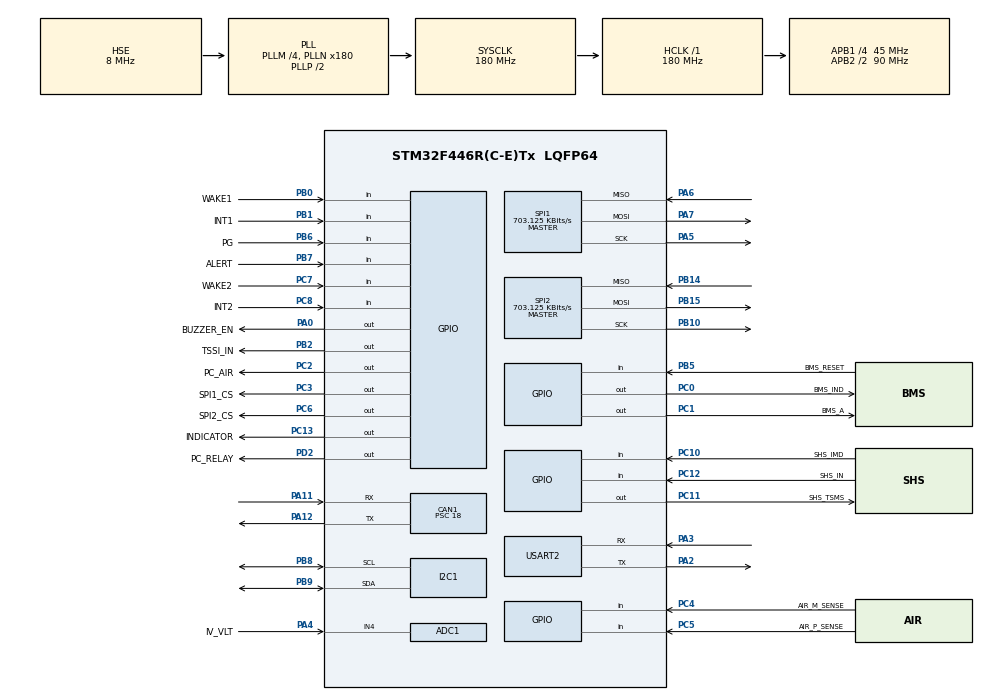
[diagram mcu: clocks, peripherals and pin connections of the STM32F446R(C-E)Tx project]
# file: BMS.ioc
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ADC1.Channel-0\#ChannelRegularConversion=ADC_CHANNEL_4
ADC1.NbrOfConversionFlag=1
ADC1.Rank-0\#ChannelRegularConversion=1
ADC1.SamplingTime-0\#ChannelRegularConversion=ADC_SAMPLETIME_3CYCLES
ADC1.master=1
CAN1.BS1=CAN_BS1_3TQ
CAN1.CalculateBaudRate=500000
CAN1.CalculateTimeBit=2000
CAN1.CalculateTimeQuantum=400.0
CAN1.Prescaler=18
Dma.Request0=USART2_RX
Dma.Request1=USART2_TX
Dma.USART2_RX.0.Direction=DMA_PERIPH_TO_MEMORY
Dma.USART2_RX.0.FIFOMode=DMA_FIFOMODE_DISABLE
Dma.USART2_RX.0.Instance=DMA1_Stream5
Dma.USART2_RX.0.MemDataAlignment=DMA_MDATAALIGN_BYTE
Dma.USART2_RX.0.MemInc=DMA_MINC_ENABLE
Dma.USART2_RX.0.Mode=DMA_CIRCULAR
Dma.USART2_RX.0.PeriphDataAlignment=DMA_PDATAALIGN_BYTE
Dma.USART2_RX.0.PeriphInc=DMA_PINC_DISABLE
Dma.USART2_RX.0.Priority=DMA_PRIORITY_LOW
Dma.USART2_TX.1.Direction=DMA_MEMORY_TO_PERIPH
Dma.USART2_TX.1.FIFOMode=DMA_FIFOMODE_DISABLE
Dma.USART2_TX.1.Instance=DMA1_Stream6
Dma.USART2_TX.1.MemDataAlignment=DMA_MDATAALIGN_BYTE
Dma.USART2_TX.1.MemInc=DMA_MINC_ENABLE
Dma.USART2_TX.1.Mode=DMA_NORMAL
Dma.USART2_TX.1.PeriphDataAlignment=DMA_PDATAALIGN_BYTE
Dma.USART2_TX.1.PeriphInc=DMA_PINC_DISABLE
Dma.USART2_TX.1.Priority=DMA_PRIORITY_LOW
FREERTOS.CountingSemaphores01=canTxMailboxSem,3,Dynamic,NULL,3;uartTxSem,1,Dynamic,NULL,0
FREERTOS.Mutexes01=ADBMSMutex,Dynamic,NULL,Available;canTxMutex,Dynamic,NULL,Available;canRxMutex,Dynamic,NULL,Available;tpsDataMutex,Dynamic,NULL,Available;tpsI2cMutex,Dynamic,NULL,Available;logMutex,Dynamic,NULL,Available;uartTxMutex,Dynamic,NULL,Available
FREERTOS.Queues01=canTxQueue,16,FEB_CAN_Message_t,0,Dynamic,NULL,NULL;canRxQueue,32,FEB_CAN_Message_t,0,Dynamic,NULL,NULL;uartRxQueue,8,FEB_UART_RxQueueMsg_t,0,Dynamic,NULL,NULL
FREERTOS.Tasks01=uartRxTask,24,1024,StartUartRxTask,As weak,NULL,Dynamic,NULL,NULL;ADBMSTask,48,2048,StartADBMSTask,As weak,NULL,Dynamic,NULL,NULL;TPSTask,8,512,StartTPSTask,As weak,NULL,Dynamic,NULL,NULL;BMSTaskRx,8,1024,StartBMSTaskRx,As weak,NULL,Dynamic,NULL,NULL;BMSTaskTx,8,1024,StartBMSTaskTx,As weak,NULL,Dynamic,NULL,NULL;SMTask,24,1024,StartSMTask,As weak,NULL,Dynamic,NULL,NULL;BMSProcessingTask,32,1024,StartBMSProcessingTask,As weak,NULL,Dynamic,NULL,NULL
FREERTOS.configCHECK_FOR_STACK_OVERFLOW=2
FREERTOS.configENABLE_FPU=1
FREERTOS.configTOTAL_HEAP_SIZE=65536
Mcu.Family=STM32F4
Mcu.Name=STM32F446R(C-E)Tx
Mcu.Package=LQFP64
NVIC.CAN1_RX0_IRQn=true\:5\:0\:false\:false\:true\:true\:true\:true\:true
NVIC.CAN1_RX1_IRQn=true\:5\:0\:false\:false\:true\:true\:true\:true\:true
NVIC.CAN1_SCE_IRQn=true\:5\:0\:false\:false\:true\:true\:true\:true\:true
NVIC.CAN1_TX_IRQn=true\:5\:0\:false\:false\:true\:true\:true\:true\:true
NVIC.DMA1_Stream5_IRQn=true\:5\:0\:false\:false\:true\:true\:false\:true\:true
NVIC.DMA1_Stream6_IRQn=true\:5\:0\:false\:false\:true\:true\:false\:true\:true
NVIC.PriorityGroup=NVIC_PRIORITYGROUP_4
NVIC.TIM6_DAC_IRQn=true\:15\:0\:false\:false\:true\:false\:false\:true\:true
NVIC.TimeBase=TIM6_DAC_IRQn
NVIC.TimeBaseIP=TIM6
NVIC.USART2_IRQn=true\:5\:0\:false\:false\:true\:true\:true\:true\:true
PA0-WKUP.GPIO_Label=BUZZER_EN
PA0-WKUP.Signal=GPIO_Output
PA11.Mode=CAN_Activate
PA11.Signal=CAN1_RX
PA12.Mode=CAN_Activate
PA12.Signal=CAN1_TX
PA13.Mode=Serial_Wire
PA13.Signal=SYS_JTMS-SWDIO
PA14.Mode=Serial_Wire
PA14.Signal=SYS_JTCK-SWCLK
PA2.Mode=Asynchronous
PA2.Signal=USART2_TX
PA3.Mode=Asynchronous
PA3.Signal=USART2_RX
PA4.GPIO_Label=IV_VLT
PA4.Signal=ADCx_IN4
PA5.Mode=Full_Duplex_Master
PA5.Signal=SPI1_SCK
PA6.Mode=Full_Duplex_Master
PA6.Signal=SPI1_MISO
PA7.Mode=Full_Duplex_Master
PA7.Signal=SPI1_MOSI
PB0.GPIO_Label=WAKE1
PB0.Signal=GPIO_Input
PB1.GPIO_Label=INT1
PB1.Signal=GPIO_Input
PB10.Mode=Full_Duplex_Master
PB10.Signal=SPI2_SCK
PB14.Mode=Full_Duplex_Master
PB14.Signal=SPI2_MISO
PB15.Mode=Full_Duplex_Master
PB15.Signal=SPI2_MOSI
PB2.GPIO_Label=TSSI_IN
PB2.Signal=GPIO_Output
PB5.GPIO_Label=BMS_RESET
PB5.GPIO_PuPd=GPIO_PULLUP
PB5.Signal=GPIO_Input
PB6.GPIO_Label=PG
PB6.Signal=GPIO_Input
PB7.GPIO_Label=ALERT
PB7.Signal=GPIO_Input
PB8.Mode=I2C
PB8.Signal=I2C1_SCL
PB9.Mode=I2C
PB9.Signal=I2C1_SDA
PC0.GPIO_Label=BMS_IND
PC0.Signal=GPIO_Output
PC1.GPIO_Label=BMS_A
PC1.Signal=GPIO_Output
PC10.GPIO_Label=SHS_IMD
PC10.Signal=GPIO_Input
PC11.GPIO_Label=SHS_TSMS
PC11.Signal=GPIO_Output
PC12.GPIO_Label=SHS_IN
PC12.Signal=GPIO_Input
PC13.GPIO_Label=INDICATOR
PC13.Signal=GPIO_Output
PC2.GPIO_Label=PC_AIR
PC2.Signal=GPIO_Output
PC3.GPIO_Label=SPI1_CS
PC3.Signal=GPIO_Output
PC4.GPIO_Label=AIR_M_SENSE
PC4.Signal=GPIO_Input
PC5.GPIO_Label=AIR_P_SENSE
PC5.Signal=GPIO_Input
PC6.GPIO_Label=SPI2_CS
PC6.Signal=GPIO_Output
PC7.GPIO_Label=WAKE2
PC7.Signal=GPIO_Input
PC8.GPIO_Label=INT2
PC8.Signal=GPIO_Input
PD2.GPIO_Label=PC_RELAY
PD2.Signal=GPIO_Output
PH0-OSC_IN.Mode=HSE-External-Oscillator
PH0-OSC_IN.Signal=RCC_OSC_IN
PH1-OSC_OUT.Mode=HSE-External-Oscillator
PH1-OSC_OUT.Signal=RCC_OSC_OUT
ProjectManager.HeapSize=0x200
ProjectManager.StackSize=0x400
ProjectManager.TargetToolchain=CMake
RCC.AHBFreq_Value=180000000
RCC.APB1CLKDivider=RCC_HCLK_DIV4
RCC.APB1Freq_Value=45000000
RCC.APB1TimFreq_Value=90000000
RCC.APB2CLKDivider=RCC_HCLK_DIV2
RCC.APB2Freq_Value=90000000
RCC.APB2TimFreq_Value=180000000
RCC.CortexFreq_Value=180000000
RCC.HCLKFreq_Value=180000000
RCC.HSE_VALUE=8000000
RCC.PLLM=4
RCC.PLLN=180
RCC.PLLSourceVirtual=RCC_PLLSOURCE_HSE
RCC.SYSCLKFreq_VALUE=180000000
RCC.SYSCLKSource=RCC_SYSCLKSOURCE_PLLCLK
RCC.USBFreq_Value=180000000
RCC.VCOOutputFreq_Value=360000000
SH.ADCx_IN4.0=ADC1_IN4,IN4
SPI1.BaudRatePrescaler=SPI_BAUDRATEPRESCALER_128
SPI1.CLKPhase=SPI_PHASE_1EDGE
SPI1.CLKPolarity=SPI_POLARITY_LOW
SPI1.CalculateBaudRate=703.125 KBits/s
SPI1.Direction=SPI_DIRECTION_2LINES
SPI1.Mode=SPI_MODE_MASTER
SPI1.VirtualType=VM_MASTER
SPI2.BaudRatePrescaler=SPI_BAUDRATEPRESCALER_64
SPI2.CLKPhase=SPI_PHASE_1EDGE
SPI2.CLKPolarity=SPI_POLARITY_LOW
SPI2.CalculateBaudRate=703.125 KBits/s
SPI2.Direction=SPI_DIRECTION_2LINES
SPI2.Mode=SPI_MODE_MASTER
SPI2.VirtualType=VM_MASTER
USART2.VirtualMode=VM_ASYNC
VP_FREERTOS_VS_CMSIS_V2.Mode=CMSIS_V2
VP_SYS_VS_tim6.Mode=TIM6
board=custom

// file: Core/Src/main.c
/* USER CODE BEGIN Header */
/**
  ******************************************************************************
  * @file           : main.c
  * @brief          : Main program body
  ******************************************************************************
  * @attention
  *
  * Copyright (c) 2025 STMicroelectronics.
  * All rights reserved.
  *
  * This software is licensed under terms that can be found in the LICENSE file
  * in the root directory of this software component.
  * If no LICENSE file comes with this software, it is provided AS-IS.
  *
  ******************************************************************************
  */
/* USER CODE END Header */
#include "main.h"
#include "cmsis_os.h"
#include "adc.h"
#include "can.h"
#include "dma.h"
#include "i2c.h"
#include "spi.h"
#include "usart.h"
#include "gpio.h"

/* USER CODE BEGIN Includes */
#include <stdio.h>
#include "FEB_ADBMS_App.h"
#include "FEB_CAN_State.h"
#include "FEB_CAN_PingPong.h"
#include "FEB_Main.h"
#include "FEB_SM.h"
#include "task.h"
/* USER CODE END Includes */

/* USER CODE BEGIN PV */
extern osThreadId_t SMTaskHandle;
/* USER CODE END PV */

void SystemClock_Config(void);
void MX_FREERTOS_Init(void);

int main(void)
{

  /* MCU Configuration--------------------------------------------------------*/

  /* Reset of all peripherals, Initializes the Flash interface and the Systick. */
  HAL_Init();

  /* Configure the system clock */
  SystemClock_Config();

  /* Initialize all configured peripherals */
  MX_GPIO_Init();
  MX_DMA_Init();
  MX_USART2_UART_Init();
  MX_SPI1_Init();
  MX_I2C1_Init();
  MX_CAN1_Init();
  MX_ADC1_Init();
  MX_SPI2_Init();
  /* USER CODE BEGIN 2 */
  printf("[BOOT] UART ready @115200 (USART2)\r\n");
  /* USER CODE END 2 */

  /* Init scheduler */
  osKernelInitialize();  /* Call init function for freertos objects (in cmsis_os2.c) */
  MX_FREERTOS_Init();

  /* Start scheduler */
  osKernelStart();

  /* We should never get here as control is now taken by the scheduler */

  /* Infinite loop */
  while (1)
  {

  }
}

void SystemClock_Config(void)
{
  RCC_OscInitTypeDef RCC_OscInitStruct = {0};
  RCC_ClkInitTypeDef RCC_ClkInitStruct = {0};

  /** Configure the main internal regulator output voltage
  */
  __HAL_RCC_PWR_CLK_ENABLE();
  __HAL_PWR_VOLTAGESCALING_CONFIG(PWR_REGULATOR_VOLTAGE_SCALE1);

  /** Initializes the RCC Oscillators according to the specified parameters
  * in the RCC_OscInitTypeDef structure.
  */
  RCC_OscInitStruct.OscillatorType = RCC_OSCILLATORTYPE_HSE;
  RCC_OscInitStruct.HSEState = RCC_HSE_ON;
  RCC_OscInitStruct.PLL.PLLState = RCC_PLL_ON;
  RCC_OscInitStruct.PLL.PLLSource = RCC_PLLSOURCE_HSE;
  RCC_OscInitStruct.PLL.PLLM = 4;
  RCC_OscInitStruct.PLL.PLLN = 180;
  RCC_OscInitStruct.PLL.PLLP = RCC_PLLP_DIV2;
  RCC_OscInitStruct.PLL.PLLQ = 2;
  RCC_OscInitStruct.PLL.PLLR = 2;
  if (HAL_RCC_OscConfig(&RCC_OscInitStruct) != HAL_OK)
  {
    Error_Handler();
  }

  /** Activate the Over-Drive mode
  */
  if (HAL_PWREx_EnableOverDrive() != HAL_OK)
  {
    Error_Handler();
  }

  /** Initializes the CPU, AHB and APB buses clocks
  */
  RCC_ClkInitStruct.ClockType = RCC_CLOCKTYPE_HCLK|RCC_CLOCKTYPE_SYSCLK
                              |RCC_CLOCKTYPE_PCLK1|RCC_CLOCKTYPE_PCLK2;
  RCC_ClkInitStruct.SYSCLKSource = RCC_SYSCLKSOURCE_PLLCLK;
  RCC_ClkInitStruct.AHBCLKDivider = RCC_SYSCLK_DIV1;
  RCC_ClkInitStruct.APB1CLKDivider = RCC_HCLK_DIV4;
  RCC_ClkInitStruct.APB2CLKDivider = RCC_HCLK_DIV2;

  if (HAL_RCC_ClockConfig(&RCC_ClkInitStruct, FLASH_LATENCY_5) != HAL_OK)
  {
    Error_Handler();
  }
}

void HAL_TIM_PeriodElapsedCallback(TIM_HandleTypeDef *htim)
{
  if (htim->Instance == TIM6)
  {
    HAL_IncTick();
  }
  /* USER CODE BEGIN Callback 1 */
  /* All processing happens in SMTask (safe task context) */
  if (SMTaskHandle != NULL)
  {
    BaseType_t xHigherPriorityTaskWoken = pdFALSE;
    vTaskNotifyGiveFromISR((TaskHandle_t)SMTaskHandle, &xHigherPriorityTaskWoken);
    portYIELD_FROM_ISR(xHigherPriorityTaskWoken);
  }
  /* NOTE: FEB_SM_Process(), FEB_CAN_State_Tick(), FEB_CAN_PingPong_Tick()
     are called from SMTask, not from ISR - they use blocking operations */
  /* USER CODE END Callback 1 */
}

void Error_Handler(void)
{
  __disable_irq();
  while (1)
  {
  }
}

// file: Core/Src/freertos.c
/* USER CODE BEGIN Header */
/**
  ******************************************************************************
  * File Name          : freertos.c
  * Description        : Code for freertos applications
  ******************************************************************************
  * @attention
  *
  * Copyright (c) 2025 STMicroelectronics.
  * All rights reserved.
  *
  * This software is licensed under terms that can be found in the LICENSE file
  * in the root directory of this software component.
  * If no LICENSE file comes with this software, it is provided AS-IS.
  *
  ******************************************************************************
  */
/* USER CODE END Header */

#include "FreeRTOS.h"
#include "task.h"
#include "main.h"
#include "cmsis_os.h"

/* USER CODE BEGIN Includes */
#include "FEB_Task_ADBMS.h"
#include "FEB_Task_TPS.h"
#include "FEB_Main.h"
#include "i2c.h"
#include "feb_uart.h"
#include "feb_can_lib.h"
#include "feb_rtos_utils.h"
#include <stdio.h>
/* USER CODE END Includes */

/* Definitions for uartRxTask */
osThreadId_t uartRxTaskHandle;
const osThreadAttr_t uartRxTask_attributes = {
  .name = "uartRxTask",
  .stack_size = 1024 * 4,
  .priority = (osPriority_t) osPriorityNormal,
};
/* Definitions for ADBMSTask */
osThreadId_t ADBMSTaskHandle;
const osThreadAttr_t ADBMSTask_attributes = {
  .name = "ADBMSTask",
  .stack_size = 2048 * 4,
  .priority = (osPriority_t) osPriorityRealtime,
};
/* Definitions for TPSTask */
osThreadId_t TPSTaskHandle;
const osThreadAttr_t TPSTask_attributes = {
  .name = "TPSTask",
  .stack_size = 512 * 4,
  .priority = (osPriority_t) osPriorityLow,
};
/* Definitions for BMSTaskRx */
osThreadId_t BMSTaskRxHandle;
const osThreadAttr_t BMSTaskRx_attributes = {
  .name = "BMSTaskRx",
  .stack_size = 1024 * 4,
  .priority = (osPriority_t) osPriorityLow,
};
/* Definitions for BMSTaskTx */
osThreadId_t BMSTaskTxHandle;
const osThreadAttr_t BMSTaskTx_attributes = {
  .name = "BMSTaskTx",
  .stack_size = 1024 * 4,
  .priority = (osPriority_t) osPriorityLow,
};
/* Definitions for SMTask */
osThreadId_t SMTaskHandle;
const osThreadAttr_t SMTask_attributes = {
  .name = "SMTask",
  .stack_size = 1024 * 4,
  .priority = (osPriority_t) osPriorityNormal,
};
/* Definitions for canTxQueue */
osMessageQueueId_t canTxQueueHandle;
const osMessageQueueAttr_t canTxQueue_attributes = {
  .name = "canTxQueue"
};
/* Definitions for canRxQueue */
osMessageQueueId_t canRxQueueHandle;
const osMessageQueueAttr_t canRxQueue_attributes = {
  .name = "canRxQueue"
};
/* Definitions for uartRxQueue */
osMessageQueueId_t uartRxQueueHandle;
const osMessageQueueAttr_t uartRxQueue_attributes = {
  .name = "uartRxQueue"
};
/* Definitions for ADBMSMutex */
osMutexId_t ADBMSMutexHandle;
const osMutexAttr_t ADBMSMutex_attributes = {
  .name = "ADBMSMutex"
};
/* Definitions for canTxMutex */
osMutexId_t canTxMutexHandle;
const osMutexAttr_t canTxMutex_attributes = {
  .name = "canTxMutex"
};
/* Definitions for canRxMutex */
osMutexId_t canRxMutexHandle;
const osMutexAttr_t canRxMutex_attributes = {
  .name = "canRxMutex"
};
/* Definitions for tpsDataMutex */
osMutexId_t tpsDataMutexHandle;
const osMutexAttr_t tpsDataMutex_attributes = {
  .name = "tpsDataMutex"
};
/* Definitions for tpsI2cMutex */
osMutexId_t tpsI2cMutexHandle;
const osMutexAttr_t tpsI2cMutex_attributes = {
  .name = "tpsI2cMutex"
};
/* Definitions for logMutex */
osMutexId_t logMutexHandle;
const osMutexAttr_t logMutex_attributes = {
  .name = "logMutex"
};
/* Definitions for uartTxMutex */
osMutexId_t uartTxMutexHandle;
const osMutexAttr_t uartTxMutex_attributes = {
  .name = "uartTxMutex"
};
/* Definitions for canTxMailboxSem */
osSemaphoreId_t canTxMailboxSemHandle;
const osSemaphoreAttr_t canTxMailboxSem_attributes = {
  .name = "canTxMailboxSem"
};
/* Definitions for uartTxSem */
osSemaphoreId_t uartTxSemHandle;
const osSemaphoreAttr_t uartTxSem_attributes = {
  .name = "uartTxSem"
};

void StartUartRxTask(void *argument);
void StartADBMSTask(void *argument);
void StartTPSTask(void *argument);
void StartBMSTaskRx(void *argument);
void StartBMSTaskTx(void *argument);
void StartSMTask(void *argument);

void MX_FREERTOS_Init(void); /* (MISRA C 2004 rule 8.1) */

/* Hook prototypes */
void vApplicationStackOverflowHook(xTaskHandle xTask, signed char *pcTaskName);

void MX_FREERTOS_Init(void) {
  /* Create the mutex(es) */
  /* creation of ADBMSMutex */
  ADBMSMutexHandle = osMutexNew(&ADBMSMutex_attributes);

  /* creation of canTxMutex */
  canTxMutexHandle = osMutexNew(&canTxMutex_attributes);

  /* creation of canRxMutex */
  canRxMutexHandle = osMutexNew(&canRxMutex_attributes);

  /* creation of tpsDataMutex */
  tpsDataMutexHandle = osMutexNew(&tpsDataMutex_attributes);

  /* creation of tpsI2cMutex */
  tpsI2cMutexHandle = osMutexNew(&tpsI2cMutex_attributes);

  /* creation of logMutex */
  logMutexHandle = osMutexNew(&logMutex_attributes);

  /* creation of uartTxMutex */
  uartTxMutexHandle = osMutexNew(&uartTxMutex_attributes);

  /* Create the semaphores(s) */
  /* creation of canTxMailboxSem */
  canTxMailboxSemHandle = osSemaphoreNew(3, 3, &canTxMailboxSem_attributes);

  /* creation of uartTxSem */
  uartTxSemHandle = osSemaphoreNew(1, 0, &uartTxSem_attributes);

  /* Create the queue(s) */
  /* creation of canTxQueue */
  canTxQueueHandle = osMessageQueueNew (16, sizeof(FEB_CAN_Message_t), &canTxQueue_attributes);

  /* creation of canRxQueue */
  canRxQueueHandle = osMessageQueueNew (32, sizeof(FEB_CAN_Message_t), &canRxQueue_attributes);

  /* creation of uartRxQueue */
  uartRxQueueHandle = osMessageQueueNew (8, sizeof(FEB_UART_RxQueueMsg_t), &uartRxQueue_attributes);

  /* Create the thread(s) */
  /* creation of uartRxTask */
  uartRxTaskHandle = osThreadNew(StartUartRxTask, NULL, &uartRxTask_attributes);

  /* creation of ADBMSTask */
  ADBMSTaskHandle = osThreadNew(StartADBMSTask, NULL, &ADBMSTask_attributes);

  /* creation of TPSTask */
  TPSTaskHandle = osThreadNew(StartTPSTask, NULL, &TPSTask_attributes);

  /* creation of BMSTaskRx */
  BMSTaskRxHandle = osThreadNew(StartBMSTaskRx, NULL, &BMSTaskRx_attributes);

  /* creation of BMSTaskTx */
  BMSTaskTxHandle = osThreadNew(StartBMSTaskTx, NULL, &BMSTaskTx_attributes);

  /* creation of SMTask */
  SMTaskHandle = osThreadNew(StartSMTask, NULL, &SMTask_attributes);

  /* USER CODE BEGIN RTOS_EVENTS */
  /* Initialize FEB libraries after FreeRTOS objects are created */
  FEB_Init();
  /* USER CODE END RTOS_EVENTS */

}

__weak void StartUartRxTask(void *argument)
{
  for(;;)
  {
    osDelay(1);
  }
}

__weak void StartADBMSTask(void *argument)
{
  for(;;)
  {
    osDelay(1);
  }
}

__weak void StartTPSTask(void *argument)
{
  for(;;)
  {
    osDelay(1);
  }
}

__weak void StartBMSTaskRx(void *argument)
{
  for(;;)
  {
    osDelay(1);
  }
}

__weak void StartBMSTaskTx(void *argument)
{
  for(;;)
  {
    osDelay(1);
  }
}

__weak void StartSMTask(void *argument)
{
  for(;;)
  {
    osDelay(1);
  }
}

/* USER CODE BEGIN Application */

/* Stack overflow hook - called when stack overflow is detected */
void vApplicationStackOverflowHook(xTaskHandle xTask, signed char *pcTaskName)
{
  (void)xTask;
  printf("STACK OVERFLOW: %s\r\n", (char *)pcTaskName);
  /* Halt for debugging - allows inspection with debugger */
  __disable_irq();
  while(1);
}

/* USER CODE END Application */
